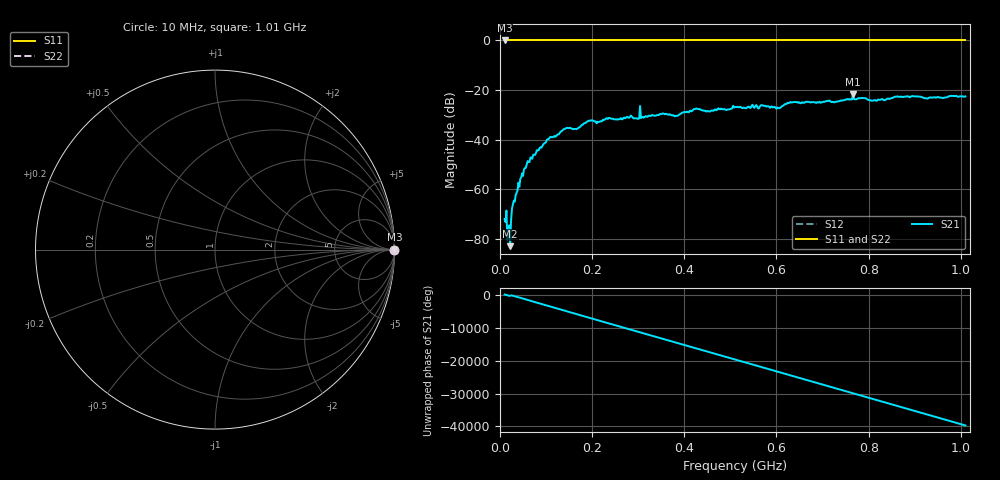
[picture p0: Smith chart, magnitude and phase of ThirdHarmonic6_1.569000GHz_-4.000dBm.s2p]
! 8/16/2025 6:39:04 PM
! C:\ANRITSUVNA\TEMP\TEMP.S2P
! CHANNEL.1
! TR.MEASUREMENT
! RAW.DATA
! RF.CORRECTION.OFF
! AVERAGING.OFF
! IF.BANDWIDTH: 5KHZ
! SWEEPTYPE:  FREQ.SWEEP(Linear)
! Reference Plane Port Info
! PORT:  PORT1  PORT2
! DISTANCE:  0  m  0  m
! TIME:  0  s  0  s
! PHASE.OFFSET:  0  deg.  0  deg.
! LOSS:  0  dB  0  dB
! REF.LOSS:  0  dB  0  dB
! REF.FREQ:  0  Hz  0  Hz
! Power Info
! POWER:  -20  dBm  -20  dBm
! EFF.POWER:  -20  dBm  -20  dBm
! SOURCE.ATTEN:  0  dB  0  dB
! TEST.ATTEN:  0  dB  0  dB
# GHZ S RI R 50.0
! FREQ.GHZ  S11RE  S11IM  S21RE  S21IM  S12RE  S12IM  S22RE  S22IM
!; PortSelection: Port_12
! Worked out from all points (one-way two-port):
!   501 points, 10 MHz to 1.01 GHz, reference 50 ohm
!   highest |S21| = -21.65 dB at 766 MHz (marker M1); lowest = -83.0 dB at 22 MHz (marker M2)
!   lowest |S11| = 0.0 dB at 10 MHz (marker M3)
!   |S11| at or under -10 dB: nowhere
!   |S22| runs from 0.0 to 0.0 dB; largest |S21 - S12| = 1.1
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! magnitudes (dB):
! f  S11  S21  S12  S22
! 10 MHz  0.0  -72.1  0.0  0.0
! 20 MHz  0.0  -74.6  0.0  0.0
! 22 MHz  0.0  -83.0  0.0  0.0
! 30 MHz  0.0  -64.6  0.0  0.0
! 44 MHz  0.0  -55.9  0.0  0.0
! 64 MHz  0.0  -49.1  0.0  0.0
! 106 MHz  0.0  -39.7  0.0  0.0
! 142 MHz  0.0  -35.6  0.0  0.0
! 164 MHz  0.0  -35.7  0.0  0.0
! 178 MHz  0.0  -34.0  0.0  0.0
! 196 MHz  0.0  -32.4  0.0  0.0
! 344 MHz  0.0  -30.2  0.0  0.0
! 382 MHz  0.0  -30.4  0.0  0.0
! 424 MHz  0.0  -27.7  0.0  0.0
! 452 MHz  0.0  -28.5  0.0  0.0
! 510 MHz  0.0  -26.9  0.0  0.0
! 604 MHz  0.0  -27.1  0.0  0.0
! 628 MHz  0.0  -25.2  0.0  0.0
! 678 MHz  0.0  -24.9  0.0  0.0
! 766 MHz  0.0  -21.7  0.0  0.0
! 844 MHz  0.0  -23.6  0.0  0.0
! 1.01 GHz  0.0  -22.6  0.0  0.0
